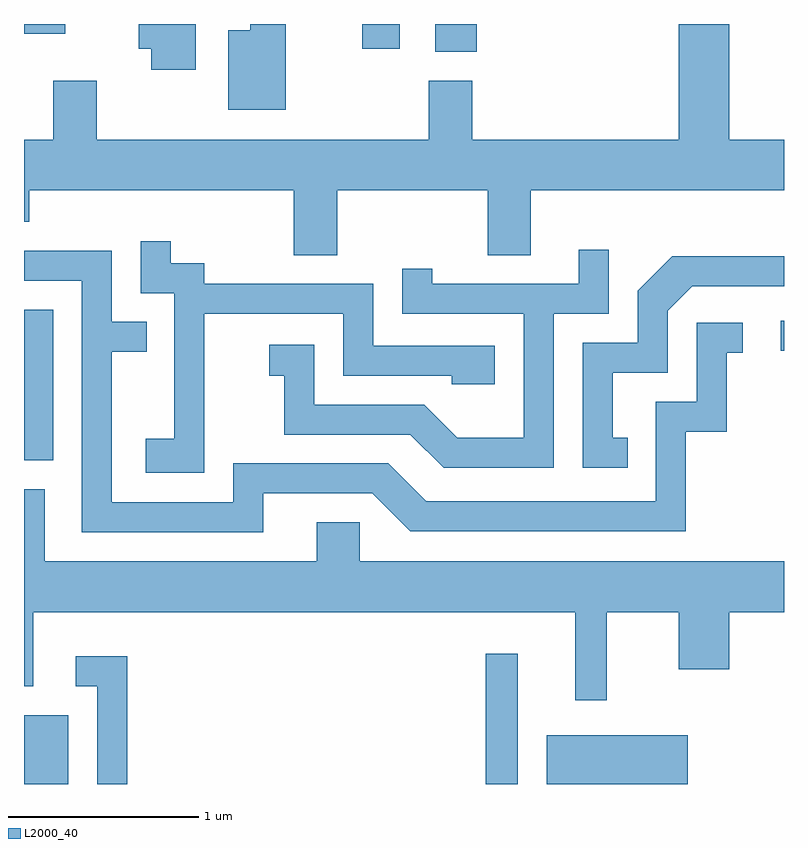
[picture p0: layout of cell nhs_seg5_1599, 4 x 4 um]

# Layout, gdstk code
import gdstk
lib = gdstk.Library(unit=1e-6, precision=1e-09)
def R(c, l, rs):  # rectangles x0, y0, x1, y1
    for r in rs: c.add(gdstk.rectangle(r[:2], r[2:], *l))
def P(c, l, *ps):  # polygons
    for p in ps: c.add(gdstk.Polygon(p, *l))
L2000_40 = (2000, 40)

nhs_seg5_1599 = lib.new_cell('nhs_seg5_1599')
R(nhs_seg5_1599, L2000_40, [(231.611,1498.072,231.844,1498.434), (234.041,1498.072,234.209,1498.758), (234.361,1498.072,235.104,1498.329), (231.611,1499.776,231.764,1500.569), (235.593,1500.351,235.611,1500.509), (233.776,1501.926,233.994,1502.072), (233.391,1501.941,233.589,1502.072), (231.611,1502.021,231.829,1502.072)])
P(nhs_seg5_1599, L2000_40, [(233.259,1501.196),(234.051,1501.196),(234.051,1500.856),(234.279,1500.856),(234.279,1501.196),(235.611,1501.196),(235.611,1501.464),(235.324,1501.464),(235.324,1502.072),(235.056,1502.072),(235.056,1501.464),(233.969,1501.464),(233.969,1501.774),(233.741,1501.774),(233.741,1501.464),(231.994,1501.464),(231.994,1501.774),(231.766,1501.774),(231.766,1501.464),(231.611,1501.464),(231.611,1501.031),(231.639,1501.031),(231.639,1501.196),(233.031,1501.196),(233.031,1500.856),(233.259,1500.856)],
  [(232.989,1502.072),(232.801,1502.072),(232.801,1502.039),(232.686,1502.039),(232.686,1501.621),(232.989,1501.621)],
  [(232.514,1502.072),(232.216,1502.072),(232.216,1501.941),(232.281,1501.941),(232.281,1501.831),(232.514,1501.831)],
  [(232.559,1500.546),(233.291,1500.546),(233.291,1500.221),(233.861,1500.221),(233.861,1500.176),(234.089,1500.176),(234.089,1500.379),(233.449,1500.379),(233.449,1500.704),(232.559,1500.704),(232.559,1500.814),(232.384,1500.814),(232.384,1500.928),(232.226,1500.928),(232.226,1500.656),(232.401,1500.656),(232.401,1499.889),(232.251,1499.889),(232.251,1499.711),(232.559,1499.711)],
  [(234.399,1500.546),(234.689,1500.546),(234.689,1500.883),(234.531,1500.883),(234.531,1500.704),(233.759,1500.704),(233.759,1500.783),(233.601,1500.783),(233.601,1500.546),(234.241,1500.546),(234.241,1499.894),(233.892,1499.894),(233.717,1500.069),(233.139,1500.069),(233.139,1500.384),(232.903,1500.384),(232.903,1500.221),(232.981,1500.221),(232.981,1499.911),(233.644,1499.911),(233.819,1499.736),(234.399,1499.736)],
  [(232.869,1499.601),(233.444,1499.601),(233.644,1499.401),(235.094,1499.401),(235.094,1499.926),(235.309,1499.926),(235.309,1500.341),(235.393,1500.341),(235.393,1500.499),(235.151,1500.499),(235.151,1500.084),(234.936,1500.084),(234.936,1499.559),(233.727,1499.559),(233.527,1499.759),(232.711,1499.759),(232.711,1499.554),(232.074,1499.554),(232.074,1500.346),(232.258,1500.346),(232.258,1500.504),(232.074,1500.504),(232.074,1500.879),(231.611,1500.879),(231.611,1500.721),(231.916,1500.721),(231.916,1499.396),(232.869,1499.396)],
  [(234.788,1499.894),(234.709,1499.894),(234.709,1500.236),(234.999,1500.236),(234.999,1500.564),(235.127,1500.691),(235.611,1500.691),(235.611,1500.849),(235.024,1500.849),(234.841,1500.667),(234.841,1500.394),(234.551,1500.394),(234.551,1499.736),(234.788,1499.736)],
  [(233.379,1499.449),(233.151,1499.449),(233.151,1499.244),(231.719,1499.244),(231.719,1499.624),(231.611,1499.624),(231.611,1498.586),(231.659,1498.586),(231.659,1498.976),(234.511,1498.976),(234.511,1498.513),(234.679,1498.513),(234.679,1498.976),(235.056,1498.976),(235.056,1498.676),(235.324,1498.676),(235.324,1498.976),(235.611,1498.976),(235.611,1499.244),(233.379,1499.244)],
  [(232.154,1498.744),(231.883,1498.744),(231.883,1498.586),(231.996,1498.586),(231.996,1498.072),(232.154,1498.072)])

lib.write_gds('nhs_seg5_1599.gds')
